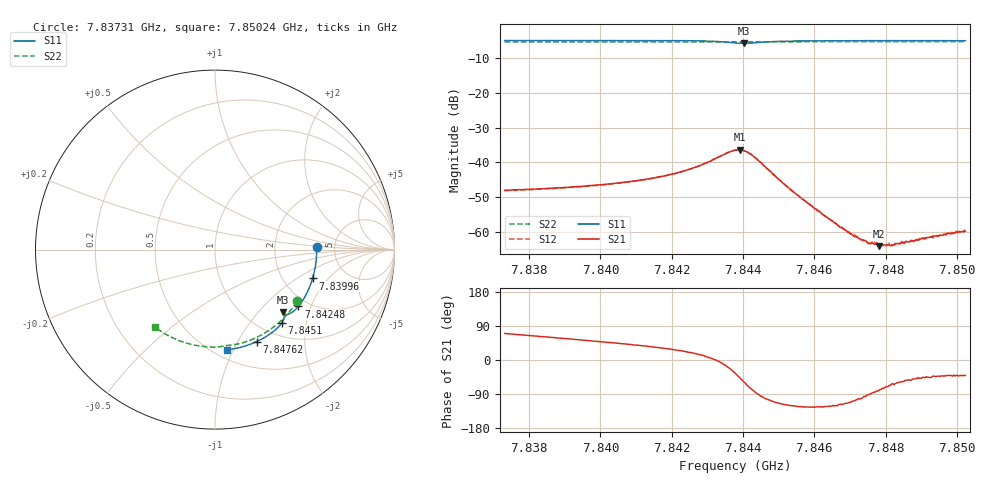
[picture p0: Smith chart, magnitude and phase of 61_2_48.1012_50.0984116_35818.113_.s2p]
#  HZ  S  RI  R  50.00
! Rohde & Schwarz Vector Network Analyzer
! Rohde-Schwarz,ZNB20-2Port,1311601062101988,3.16
! Created: UTC 12/23/2023, 3:40:45 AM
! freq[Hz]  re:S11  im:S11  re:S21  im:S21  re:S12  im:S12  re:S22  im:S22
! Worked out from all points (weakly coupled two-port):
!   401 points, 7.83731 GHz to 7.85024 GHz, reference 50 ohm
!   highest |S21| = -36.33 dB at 7.8439 GHz (marker M1); lowest = -64.1 dB at 7.84781 GHz (marker M2)
!   lowest |S11| = -5.8 dB at 7.84403 GHz (marker M3), VSWR 3.12, Z = 72.2 - j68.6 ohm
!   |S11| at or under -10 dB: nowhere
!   |S22| runs from -5.4 to -5.3 dB; largest |S21 - S12| = 0.00026
!   S11 on the Smith chart (normalised r, x): 7.83731 GHz: 3.61, +0.15; 7.83996 GHz: 2.90, -1.37; 7.84248 GHz: 1.77, -1.64; 7.8451 GHz: 1.24, -1.46; 7.84762 GHz: 0.80, -1.20; 7.85024 GHz: 0.58, -0.94
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7.837311e9  0.5663 0.0144  0.00134 0.00373  0.00137 0.00367  0.4559 -0.2889
7.839476e9  0.552 -0.1289  0.00272 0.00361  0.00273 0.00355  0.3584 -0.4047
7.839961e9  0.5439 -0.1605  0.00317 0.00356  0.00311 0.00356  0.3323 -0.4266
7.840801e9  0.5246 -0.2142  0.004 0.00348  0.00391 0.00343  0.2843 -0.4605
7.841642e9  0.499 -0.2666  0.00525 0.00332  0.00517 0.00331  0.2323 -0.4889
7.842482e9  0.4645 -0.3167  0.00743 0.00278  0.00739 0.00282  0.1777 -0.5114
7.84329e9  0.4156 -0.3571  0.0118 -0.000565  0.0118 -0.000529  0.1228 -0.5265
7.843774e9  0.3807 -0.3574  0.0124 -0.00853  0.0124 -0.00831  0.0904 -0.5316
7.843904e9  0.3768 -0.353  0.0107 -0.0109  0.0105 -0.0109  0.0823 -0.5327
7.844033e9  0.3777 -0.3494  0.00756 -0.0125  0.00776 -0.0125  0.074 -0.534
7.844292e9  0.3854 -0.3536  0.00187 -0.0121  0.00199 -0.0123  0.0575 -0.5371
7.845099e9  0.3727 -0.4074  -0.00228 -0.0046  -0.00227 -0.00465  0.00129 -0.5427
7.84594e9  0.3309 -0.4517  -0.00132 -0.00193  -0.00132 -0.00195  -0.0582 -0.5407
7.846715e9  0.2871 -0.4832  -0.000539 -0.00104  -0.000557 -0.00107  -0.1121 -0.5326
7.847071e9  0.2663 -0.4955  -0.000286 -0.000858  -0.000289 -0.000867  -0.1365 -0.527
7.847458e9  0.2429 -0.5076  -5.4e-05 -0.000739  -4.78e-05 -0.000712  -0.1626 -0.5199
7.84762e9  0.233 -0.5125  3.43e-05 -0.000716  8.12e-05 -0.000691  -0.1734 -0.5165
7.847814e9  0.2211 -0.5177  0.000105 -0.000617  8.79e-05 -0.000646  -0.1864 -0.512
7.848105e9  0.203 -0.5251  0.000259 -0.000599  0.000253 -0.000645  -0.2055 -0.5048
7.849721e9  0.0992 -0.554  0.000721 -0.000641  0.000695 -0.000636  -0.3059 -0.4524
7.849979e9  0.0821 -0.5568  0.000738 -0.000646  0.000759 -0.000672  -0.3206 -0.442
7.850238e9  0.0651 -0.5588  0.000774 -0.000668  0.000798 -0.000677  -0.3352 -0.4313
